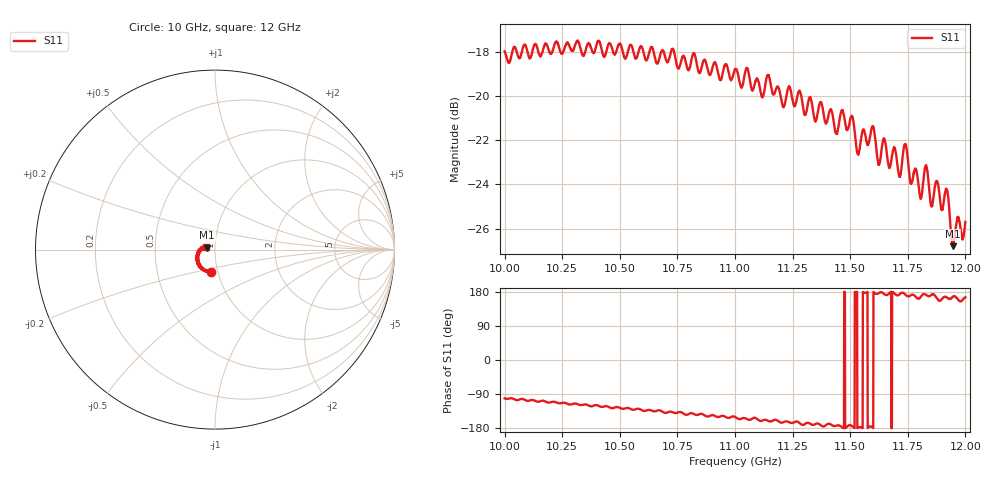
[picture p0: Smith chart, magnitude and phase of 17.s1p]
[Version] 2.0
! Rohde & Schwarz Vector Network Analyzer
! Rohde-Schwarz,ZNL20-2Port,1323001220200009,1.71.1.10-23.02.1.238
! Port Assignments:
! Nominal Port -> Actual Test Port
!  1 -> 1
! Created: GMT 2024-09-04 10:38:01
# Hz S DB R 50
[Number of Ports] 1
! freq[Hz]  S11[mag dB]  S11[ang]
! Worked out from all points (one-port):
!   2001 points, 10 GHz to 12 GHz, reference 50 ohm
!   lowest |S11| = -26.8 dB at 11.95 GHz (marker M1), VSWR 1.10, Z = 45.7 + j0.953 ohm
!   |S11| at or under -10 dB: start of sweep to end of sweep
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[Number of Frequencies] 28
[Network Data]
1e10  -17.98 -101.2
1.025e10  -18.07 -113.1
1.05e10  -17.63 -126.2
1.075e10  -18.70 -139.2
1.1e10  -18.78 -150.0
1.125e10  -20.19 -166.0
1.1326e10  -20.08 -168.0
1.1349e10  -21.16 -169.1
1.1373e10  -20.29 -172.4
1.144e10  -21.72 -173.2
1.1464e10  -20.65 -177.2
1.15e10  -21.06 -171.6
1.1534e10  -22.65 -178.9
1.1597e10  -21.39 -177.9
1.1624e10  -23.09 176.8
1.1647e10  -21.94 174.3
1.1713e10  -23.63 172.5
1.1737e10  -22.19 174.0
1.175e10  -22.84 168.2
1.1805e10  -24.62 165.6
1.1829e10  -23.12 172.2
1.1853e10  -24.97 172.3
1.1875e10  -23.86 164.2
1.1898e10  -25.13 160.5
1.1919e10  -24.22 164.8
1.1945e10  -26.79 166.9
1.1967e10  -25.47 160.6
1.2e10  -25.70 165.3
[End]
